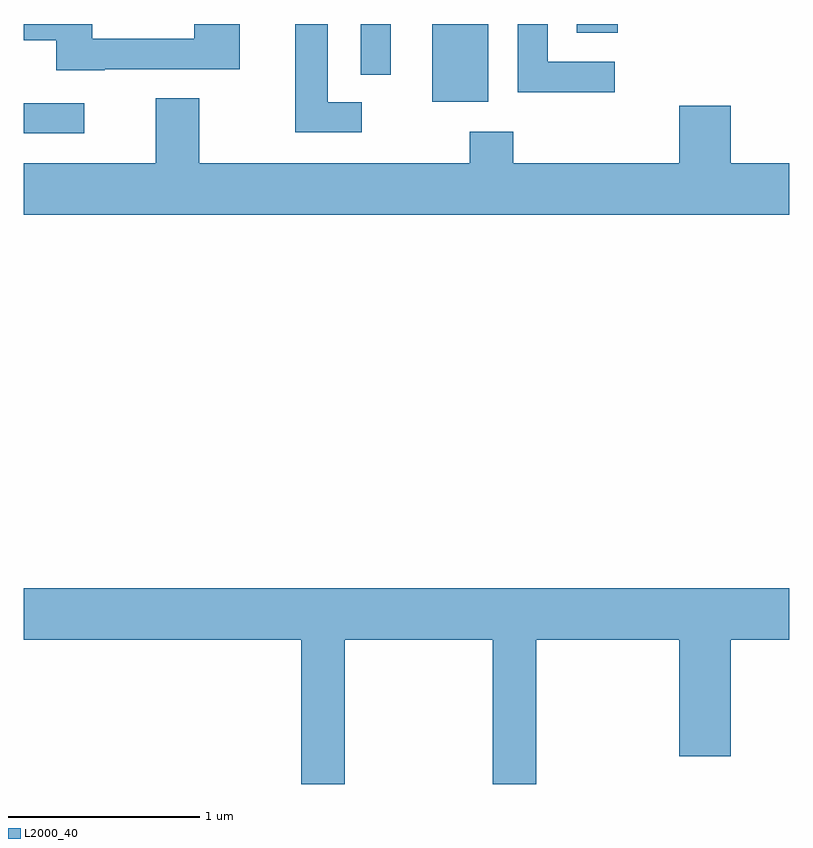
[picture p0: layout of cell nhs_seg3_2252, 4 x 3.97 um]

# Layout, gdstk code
import gdstk
lib = gdstk.Library(unit=1e-6, precision=1e-09)
def R(c, l, rs):  # rectangles x0, y0, x1, y1
    for r in rs: c.add(gdstk.rectangle(r[:2], r[2:], *l))
def P(c, l, *ps):  # polygons
    for p in ps: c.add(gdstk.Polygon(p, *l))
L2000_40 = (2000, 40)

nhs_seg3_2252 = lib.new_cell('nhs_seg3_2252')
R(nhs_seg3_2252, L2000_40, [(251.611,1135.321,251.928,1135.479), (253.746,1135.486,254.039,1135.892), (253.371,1135.628,253.529,1135.892), (254.501,1135.846,254.714,1135.892)])
P(nhs_seg3_2252, L2000_40, [(254.698,1135.694),(254.349,1135.694),(254.349,1135.892),(254.191,1135.892),(254.191,1135.536),(254.698,1135.536)],
  [(252.035,1135.656),(252.739,1135.656),(252.739,1135.892),(252.501,1135.892),(252.501,1135.814),(251.969,1135.814),(251.969,1135.892),(251.611,1135.892),(251.611,1135.806),(251.781,1135.806),(251.781,1135.651),(252.035,1135.651)],
  [(253.378,1135.484),(253.199,1135.484),(253.199,1135.892),(253.031,1135.892),(253.031,1135.326),(253.378,1135.326)],
  [(255.611,1135.164),(255.304,1135.164),(255.304,1135.464),(255.036,1135.464),(255.036,1135.164),(254.169,1135.164),(254.169,1135.329),(253.941,1135.329),(253.941,1135.164),(252.529,1135.164),(252.529,1135.504),(252.301,1135.504),(252.301,1135.164),(251.611,1135.164),(251.611,1134.896),(255.611,1134.896)],
  [(253.289,1132.676),(254.061,1132.676),(254.061,1131.921),(254.289,1131.921),(254.289,1132.676),(255.036,1132.676),(255.036,1132.066),(255.304,1132.066),(255.304,1132.676),(255.611,1132.676),(255.611,1132.944),(251.611,1132.944),(251.611,1132.676),(253.061,1132.676),(253.061,1131.921),(253.289,1131.921)])

lib.write_gds('nhs_seg3_2252.gds')
